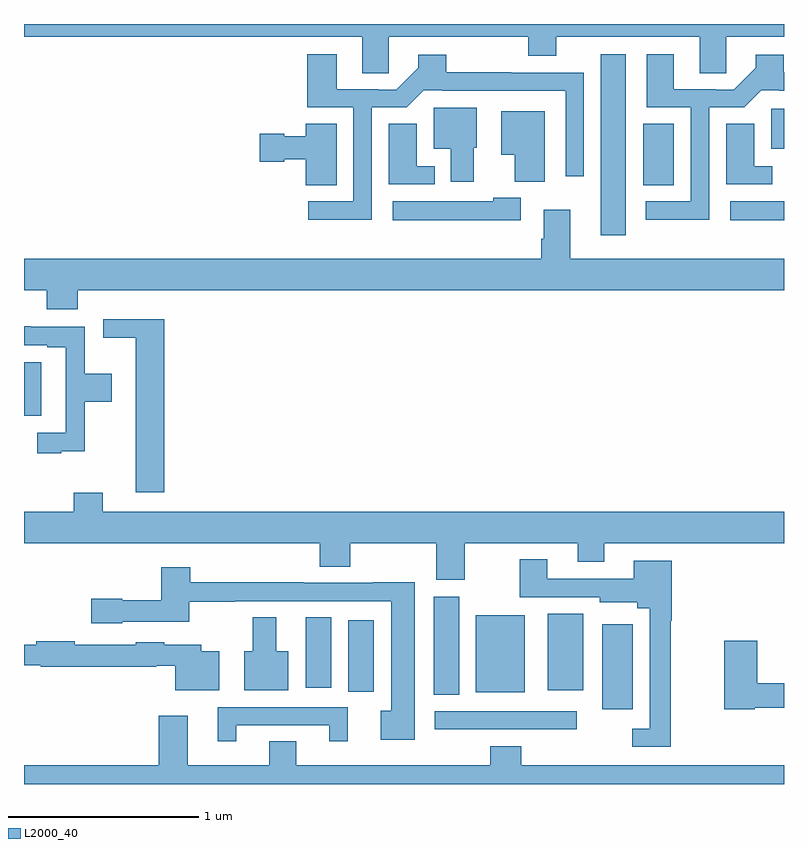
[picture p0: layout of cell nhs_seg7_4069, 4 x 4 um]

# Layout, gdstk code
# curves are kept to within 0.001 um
import gdstk
lib = gdstk.Library(unit=1e-6, precision=1e-09)
def R(c, l, rs):  # rectangles x0, y0, x1, y1
    for r in rs: c.add(gdstk.rectangle(r[:2], r[2:], *l))
def P(c, l, *ps):  # polygons
    for p in ps: c.add(gdstk.Polygon(p, *l))
L2000_40 = (2000, 40)

nhs_seg7_4069 = lib.new_cell('nhs_seg7_4069')
R(nhs_seg7_4069, L2000_40, [(371.163,1014.288,371.908,1014.384), (372.044,1014.393,372.205,1014.841), (371.156,1014.469,371.29,1014.985), (371.378,1014.482,371.635,1014.889), (370.706,1014.486,370.84,1014.862), (371.756,1014.494,371.944,1014.895), (370.484,1014.507,370.618,1014.878), (369,1015.937,369.091,1016.221), (372.035,1016.889,372.166,1017.841), (372.717,1016.966,373,1017.067), (372.26,1017.151,372.421,1017.476), (372.932,1017.344,373,1017.553)])
P(nhs_seg7_4069, L2000_40, [(370.92,1017.932),(371.653,1017.932),(371.653,1017.833),(371.8,1017.833),(371.8,1017.932),(372.557,1017.932),(372.557,1017.742),(372.696,1017.742),(372.696,1017.932),(373,1017.932),(373,1018),(369,1018),(369,1017.932),(370.781,1017.932),(370.781,1017.742),(370.92,1017.742)],
  [(372.606,1017.561),(372.79,1017.561),(372.88,1017.651),(372.976,1017.651),(372.976,1017.648),(373,1017.648),(372.999,1017.838),(372.851,1017.838),(372.851,1017.77),(372.735,1017.654),(372.641,1017.654),(372.641,1017.657),(372.421,1017.657),(372.421,1017.841),(372.278,1017.841),(372.278,1017.561),(372.51,1017.561),(372.51,1017.066),(372.273,1017.066),(372.273,1016.969),(372.606,1016.969)],
  [(370.83,1017.561),(371.014,1017.561),(371.104,1017.651),(371.2,1017.651),(371.2,1017.648),(371.849,1017.648),(371.85,1017.198),(371.946,1017.198),(371.946,1017.744),(371.564,1017.744),(371.564,1017.746),(371.223,1017.746),(371.223,1017.838),(371.075,1017.838),(371.075,1017.77),(370.959,1017.654),(370.865,1017.654),(370.865,1017.657),(370.645,1017.657),(370.645,1017.841),(370.49,1017.841),(370.49,1017.561),(370.734,1017.561),(370.734,1017.066),(370.497,1017.066),(370.497,1016.969),(370.83,1016.969)],
  [(371.368,1017.348),(371.383,1017.348),(371.383,1017.559),(371.156,1017.559),(371.156,1017.344),(371.246,1017.344),(371.246,1017.171),(371.368,1017.171)],
  [(371.74,1017.541),(371.513,1017.541),(371.513,1017.311),(371.582,1017.311),(371.582,1017.17),(371.74,1017.17)],
  [(371.161,1017.252),(371.068,1017.252),(371.068,1017.476),(370.919,1017.476),(370.919,1017.156),(371.161,1017.156)],
  [(370.645,1017.476),(370.484,1017.476),(370.484,1017.409),(370.371,1017.409),(370.371,1017.422),(370.242,1017.422),(370.242,1017.275),(370.371,1017.275),(370.371,1017.287),(370.484,1017.287),(370.484,1017.151),(370.645,1017.151)],
  [(372.937,1017.252),(372.844,1017.252),(372.844,1017.476),(372.695,1017.476),(372.695,1017.156),(372.937,1017.156)],
  [(371.614,1017.085),(371.469,1017.085),(371.469,1017.067),(370.941,1017.067),(370.941,1016.966),(371.614,1016.966)],
  [(369.284,1016.6),(373,1016.6),(373,1016.764),(371.875,1016.764),(371.875,1017.022),(371.735,1017.022),(371.735,1016.87),(371.723,1016.87),(371.723,1016.764),(369,1016.764),(369,1016.6),(369.119,1016.6),(369.119,1016.498),(369.284,1016.498)],
  [(369.737,1016.446),(369.417,1016.446),(369.417,1016.348),(369.587,1016.348),(369.587,1015.536),(369.737,1015.536)],
  [(369.197,1015.751),(369.32,1015.751),(369.32,1016.011),(369.463,1016.011),(369.463,1016.158),(369.32,1016.158),(369.32,1016.406),(369.035,1016.406),(369.035,1016.408),(369,1016.408),(369,1016.31),(369.122,1016.31),(369.122,1016.298),(369.219,1016.298),(369.219,1015.848),(369.069,1015.848),(369.069,1015.74),(369.197,1015.74)],
  [(371.319,1015.268),(371.915,1015.268),(371.915,1015.169),(372.055,1015.169),(372.055,1015.268),(373,1015.268),(373,1015.432),(369.415,1015.432),(369.415,1015.534),(369.263,1015.534),(369.263,1015.432),(369,1015.432),(369,1015.268),(370.556,1015.268),(370.556,1015.144),(370.716,1015.144),(370.716,1015.268),(371.171,1015.268),(371.171,1015.074),(371.319,1015.074)],
  [(372.403,1014.86),(372.41,1014.86),(372.41,1015.174),(372.209,1015.174),(372.209,1015.08),(371.755,1015.08),(371.755,1015.183),(371.608,1015.183),(371.608,1014.984),(372.03,1014.984),(372.03,1014.956),(372.228,1014.956),(372.228,1014.926),(372.294,1014.926),(372.294,1014.291),(372.201,1014.291),(372.201,1014.195),(372.403,1014.195)],
  [(371.056,1015.061),(370.838,1015.061),(370.838,1015.059),(370.472,1015.059),(370.472,1015.061),(369.875,1015.061),(369.875,1015.141),(369.722,1015.141),(369.722,1014.967),(369.516,1014.967),(369.516,1014.975),(369.354,1014.975),(369.354,1014.845),(369.516,1014.845),(369.516,1014.854),(369.87,1014.854),(369.87,1014.958),(370.109,1014.958),(370.109,1014.963),(370.934,1014.963),(370.934,1014.386),(370.878,1014.386),(370.878,1014.233),(371.056,1014.233)],
  [(370.39,1014.7),(370.327,1014.7),(370.327,1014.878),(370.205,1014.878),(370.205,1014.7),(370.16,1014.7),(370.16,1014.494),(370.39,1014.494)],
  [(372.846,1014.402),(373,1014.402),(373,1014.53),(372.858,1014.53),(372.858,1014.754),(372.685,1014.754),(372.685,1014.394),(372.846,1014.394)],
  [(370.027,1014.7),(369.934,1014.7),(369.934,1014.733),(369.738,1014.733),(369.738,1014.745),(369.588,1014.745),(369.588,1014.732),(369.266,1014.732),(369.266,1014.752),(369.064,1014.752),(369.064,1014.733),(369,1014.733),(369,1014.624),(369.088,1014.624),(369.088,1014.616),(369.695,1014.616),(369.695,1014.623),(369.797,1014.623),(369.797,1014.494),(370.027,1014.494)],
  [(370.117,1014.309),(370.607,1014.309),(370.607,1014.225),(370.705,1014.225),(370.705,1014.405),(370.019,1014.405),(370.019,1014.225),(370.117,1014.225)],
  [(373,1014.1),(371.618,1014.1),(371.618,1014.199),(371.453,1014.199),(371.453,1014.1),(370.432,1014.1),(370.432,1014.224),(370.292,1014.224),(370.292,1014.1),(369.862,1014.1),(369.862,1014.358),(369.71,1014.358),(369.71,1014.1),(369,1014.1),(369,1014),(373,1014)])

lib.write_gds('nhs_seg7_4069.gds')
